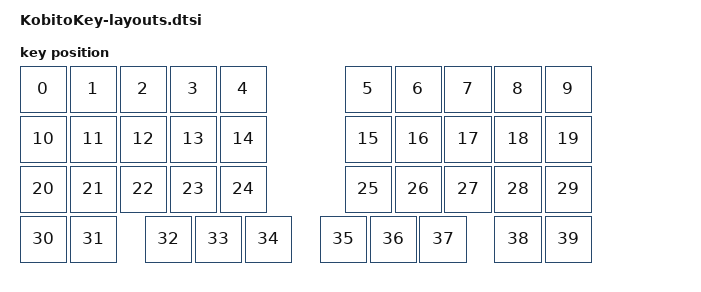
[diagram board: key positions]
#include <physical_layouts.dtsi>

/ {
    /* キーボード全体の物理レイアウト（名前は任意） */
    kobitokey_layout: physical_layout_0 {
        compatible = "zmk,physical-layout";
        display-name = "KobitoKey Default";

        /* 必須：キー位置。順番は keymap のバインディング順と一致させる */
        /* ここでは 4行×10列（=合計40キー）を 1u グリッドで仮定 */
        /* 書式: <&key_physical_attrs  width height   x    y   rot  rx  ry> 単位は「キー単位(1u=100)」 */
        keys =
            /* Row 0 (y=0) */
              <&key_physical_attrs 100 100    0    0   0   0   0>
            , <&key_physical_attrs 100 100  100    0   0   0   0>
            , <&key_physical_attrs 100 100  200    0   0   0   0>
            , <&key_physical_attrs 100 100  300    0   0   0   0>
            , <&key_physical_attrs 100 100  400    0   0   0   0>
            , <&key_physical_attrs 100 100  650    0   0   0   0>
            , <&key_physical_attrs 100 100  750    0   0   0   0>
            , <&key_physical_attrs 100 100  850    0   0   0   0>
            , <&key_physical_attrs 100 100  950    0   0   0   0>
            , <&key_physical_attrs 100 100  1050    0   0   0   0>
            /* Row 1 (y=100) */
            , <&key_physical_attrs 100 100    0  100   0   0   0>
            , <&key_physical_attrs 100 100  100  100   0   0   0>
            , <&key_physical_attrs 100 100  200  100   0   0   0>
            , <&key_physical_attrs 100 100  300  100   0   0   0>
            , <&key_physical_attrs 100 100  400  100   0   0   0>
            , <&key_physical_attrs 100 100  650  100   0   0   0>
            , <&key_physical_attrs 100 100  750  100   0   0   0>
            , <&key_physical_attrs 100 100  850  100   0   0   0>
            , <&key_physical_attrs 100 100  950  100   0   0   0>
            , <&key_physical_attrs 100 100  1050  100   0   0   0>
            /* Row 2 (y=200) */
            , <&key_physical_attrs 100 100    0  200   0   0   0>
            , <&key_physical_attrs 100 100  100  200   0   0   0>
            , <&key_physical_attrs 100 100  200  200   0   0   0>
            , <&key_physical_attrs 100 100  300  200   0   0   0>
            , <&key_physical_attrs 100 100  400  200   0   0   0>
            , <&key_physical_attrs 100 100  650  200   0   0   0>
            , <&key_physical_attrs 100 100  750  200   0   0   0>
            , <&key_physical_attrs 100 100  850  200   0   0   0>
            , <&key_physical_attrs 100 100  950  200   0   0   0>
            , <&key_physical_attrs 100 100  1050  200   0   0   0>
            /* Row 3 (y=300) */
            , <&key_physical_attrs 100 100    0  300   0   0   0>
            , <&key_physical_attrs 100 100  100  300   0   0   0>
            , <&key_physical_attrs 100 100  250  300   0   0   0>
            , <&key_physical_attrs 100 100  350  300   0   0   0>
            , <&key_physical_attrs 100 100  450  300   0   0   0>
            , <&key_physical_attrs 100 100  600  300   0   0   0>
            , <&key_physical_attrs 100 100  700  300   0   0   0>
            , <&key_physical_attrs 100 100  800  300   0   0   0>
            , <&key_physical_attrs 100 100  950  300   0   0   0>
            , <&key_physical_attrs 100 100  1050  300   0   0   0>
            ;
    };
};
